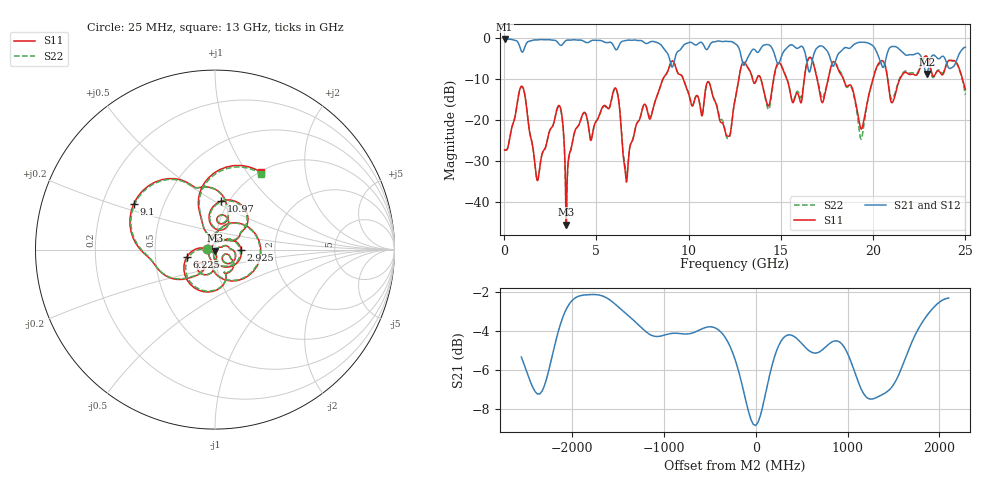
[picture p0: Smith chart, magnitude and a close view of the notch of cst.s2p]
! R_s4_rect_cap5: Finite board 24 × 16 mm, via L1 → L4, a capacitor between the planes 5 mm away, no return via
! stackup: 4-layer 1.6 mm FR-4
! ports: 1 L1, 2 L4
! CST Studio Suite 2025.5 Release from 2025-05-30, time domain (FIT, hexahedral, PBA), 279994 mesh cells, 71 s
! mesh: {'lpw': 20, 'lpb': 20, 'minstep': 0.0, 'ratio': 20}; ports: port 1 (face); port 2 (face)
! interpolated from CST's 1001 samples to the case grid
# Hz S RI R 50
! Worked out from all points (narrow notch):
!   1000 points, 25 MHz to 25 GHz, reference 50 ohm
!   highest |S21| = -0.34 dB at 25 MHz (marker M1); lowest = -8.9 dB at 22.9 GHz (marker M2)
!   notch at M2: 6.9 dB deep, 426 MHz wide at half that depth
!   lowest |S11| = -45.6 dB at 3.35 GHz (marker M3), VSWR 1.01, Z = 49.9 - j0.521 ohm
!   |S11| at or under -10 dB: start of sweep to 8.614 GHz; 9.705 GHz to 12.72 GHz (3.012 GHz wide, 26.9 % of centre); 18.38 GHz to 20 GHz (1.613 GHz wide, 8.41 % of centre) (the widest 3 of 9)
!   |S22| runs from -46.3 to -4.6 dB; largest |S21 - S12| = 0.0058
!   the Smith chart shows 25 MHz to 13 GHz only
!   S11 on the Smith chart (normalised r, x): 25 MHz: 0.92, +0.01; 2.925 GHz: 1.34, -0.01; 6.225 GHz: 0.73, -0.06; 9.1 GHz: 0.34, +0.24; 10.97 GHz: 0.92, +0.54; 13 GHz: 1.01, +1.17
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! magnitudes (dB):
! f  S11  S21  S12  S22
! 25 MHz  -27.4  -0.3  -0.3  -27.4
! 975 MHz  -11.9  -3.5  -3.5  -12.0
! 1.825 GHz  -34.7  -0.5  -0.5  -34.6
! 2.925 GHz  -16.7  -1.3  -1.3  -17.0
! 3.35 GHz  -45.6  -0.7  -0.7  -44.4
! 4.2 GHz  -19.3  -0.6  -0.6  -19.4
! 6.225 GHz  -15.9  -1.9  -2.0  -15.9
! 6.6 GHz  -34.4  -0.7  -0.7  -33.0
! 8.35 GHz  -13.4  -1.3  -1.3  -13.4
! 9.1 GHz  -5.7  -7.2  -7.1  -5.8
! 10.97 GHz  -11.3  -2.9  -2.9  -11.5
! 12.12 GHz  -24.0  -0.9  -0.9  -24.6
! 12.53 GHz  -14.9  -1.5  -1.5  -14.9
! 13 GHz  -6.0  -6.7  -6.7  -6.1
! 14.32 GHz  -16.6  -1.7  -1.7  -17.5
! 16.68 GHz  -5.3  -6.1  -6.2  -5.2
! 17.98 GHz  -6.3  -5.4  -5.4  -6.2
! 19.35 GHz  -22.3  -1.1  -1.1  -24.7
! 20.23 GHz  -6.8  -3.9  -3.9  -7.1
! 20.85 GHz  -12.4  -2.8  -2.8  -11.9
! 22.9 GHz  -4.5  -8.9  -8.8  -4.7
! 25 GHz  -12.6  -2.3  -2.3  -13.9
